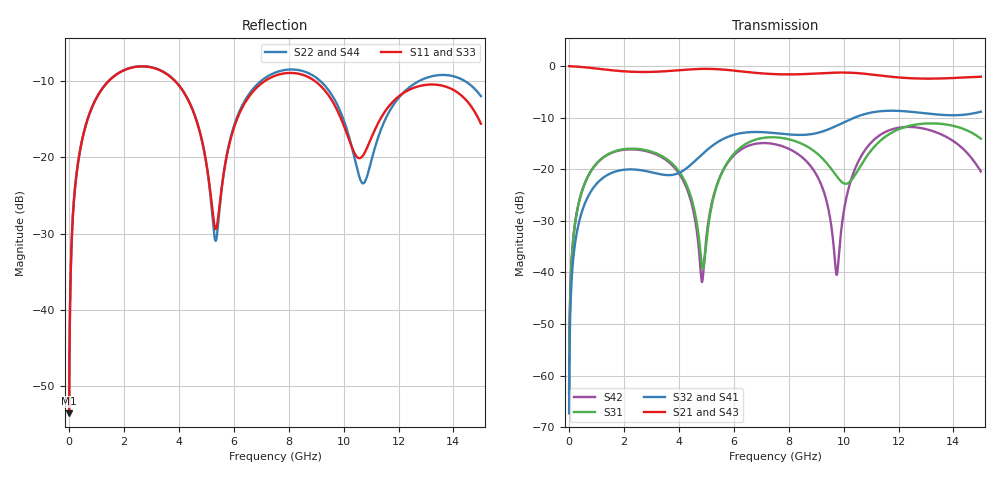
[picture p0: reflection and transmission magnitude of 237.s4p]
! Created with skrf 1.8.0 (http://scikit-rf.org).
# GHz S RI R 50.0
!freq ReS11 ImS11 ReS12 ImS12 ReS13 ImS13
! ReS14 ImS14
! ReS21 ImS21 ReS22 ImS22 ReS23 ImS23
! ReS24 ImS24
! ReS31 ImS31 ReS32 ImS32 ReS33 ImS33
! ReS34 ImS34
! ReS41 ImS41 ReS42 ImS42 ReS43 ImS43
! ReS44 ImS44
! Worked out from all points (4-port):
!   2499 points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, 5 MHz to 15 GHz, reference 50 ohm
!   strongest paths, dB at 5 MHz, 3.476 GHz, 7.19 GHz, 11.1 GHz, 15 GHz:
!     S21: 0.0, -1.0, -1.5, -1.7, -2.1
!     S43: 0.0, -1.0, -1.5, -1.7, -2.1
!     S32: -67.3, -21.1, -12.9, -8.9, -8.8
!     S41: -67.3, -21.1, -12.9, -8.9, -8.8
!     S31: -63.3, -17.7, -13.8, -15.8, -14.1
!     S42: -63.3, -18.0, -14.9, -14.3, -20.4
!   lowest |S11| = -53.5 dB at 5 MHz (marker M1), VSWR 1.00, Z = 50.2 + j0.128 ohm
!   |S11| at or under -10 dB: start of sweep to 1.46 GHz; 3.846 GHz to 7.153 GHz (3.307 GHz wide, 60.1 % of centre); 8.936 GHz to end of sweep
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0.005  0.00168 0.00127  0.9983 -0.00327  8.48e-05 0.000675  -8.23e-05 -0.000422
       0.9983 -0.00327  0.00168 0.00127  -8.23e-05 -0.000422  8.47e-05 0.000675
       8.48e-05 0.000675  -8.23e-05 -0.000422  0.00168 0.00127  0.9983 -0.00327
       -8.23e-05 -0.000422  8.47e-05 0.000675  0.9983 -0.00327  0.00168 0.00127
0.3126303  0.025 0.0837  0.9658 -0.2032  0.0118 0.0399  -0.00969 -0.0247
           0.9658 -0.2032  0.0251 0.0837  -0.00969 -0.0247  0.0115 0.04
           0.0118 0.0399  -0.00969 -0.0247  0.025 0.0837  0.9658 -0.2032
           -0.00969 -0.0247  0.0115 0.04  0.9658 -0.2032  0.0251 0.0837
1.519383  0.2703 0.1783  0.5474 -0.7306  0.1313 0.0592  -0.0911 -0.00595
          0.5474 -0.7306  0.2716 0.1774  -0.0911 -0.00592  0.1274 0.0645
          0.1313 0.0592  -0.0911 -0.00592  0.2703 0.1784  0.5474 -0.7306
          -0.0911 -0.00595  0.1274 0.0645  0.5474 -0.7306  0.2717 0.1774
5.189662  0.0355 -0.0365  -0.9264 -0.1509  -0.00359 0.043  -0.024 0.1648
          -0.9264 -0.1509  0.0298 -0.037  -0.0237 0.1649  -0.00728 0.0451
          -0.00359 0.043  -0.0237 0.1649  0.0353 -0.0376  -0.9264 -0.1509
          -0.024 0.1648  -0.00728 0.0451  -0.9264 -0.1509  0.0304 -0.038
8.30346  0.3514 -0.0278  0.00931 0.8322  0.1365 -0.1242  0.2053 -0.0635
         0.00931 0.8322  0.3689 -0.0489  0.2054 -0.0645  0.1345 -0.0466
         0.1365 -0.1242  0.2054 -0.0645  0.3526 -0.0279  0.0103 0.8316
         0.2053 -0.0635  0.1345 -0.0466  0.0103 0.8316  0.3705 -0.0499
9.747812  0.166 -0.1217  0.6392 0.5822  -0.0556 -0.0652  0.1722 -0.2
          0.6392 0.5822  0.1568 -0.16  0.1714 -0.201  -0.00819 -0.00473
          -0.0556 -0.0652  0.1714 -0.201  0.1679 -0.1248  0.639 0.5811
          0.1722 -0.2  -0.00819 -0.00473  0.639 0.5811  0.1595 -0.1626
15  0.1405 -0.0873  -0.4691 -0.6339  -0.0154 -0.197  -0.2697 0.2415
    -0.4691 -0.6339  0.1742 -0.1798  -0.2677 0.2427  0.0906 -0.0287
    -0.0154 -0.197  -0.2677 0.2427  0.1329 -0.0885  -0.4753 -0.6304
    -0.2697 0.2415  0.0906 -0.0287  -0.4753 -0.6304  0.1726 -0.1754
